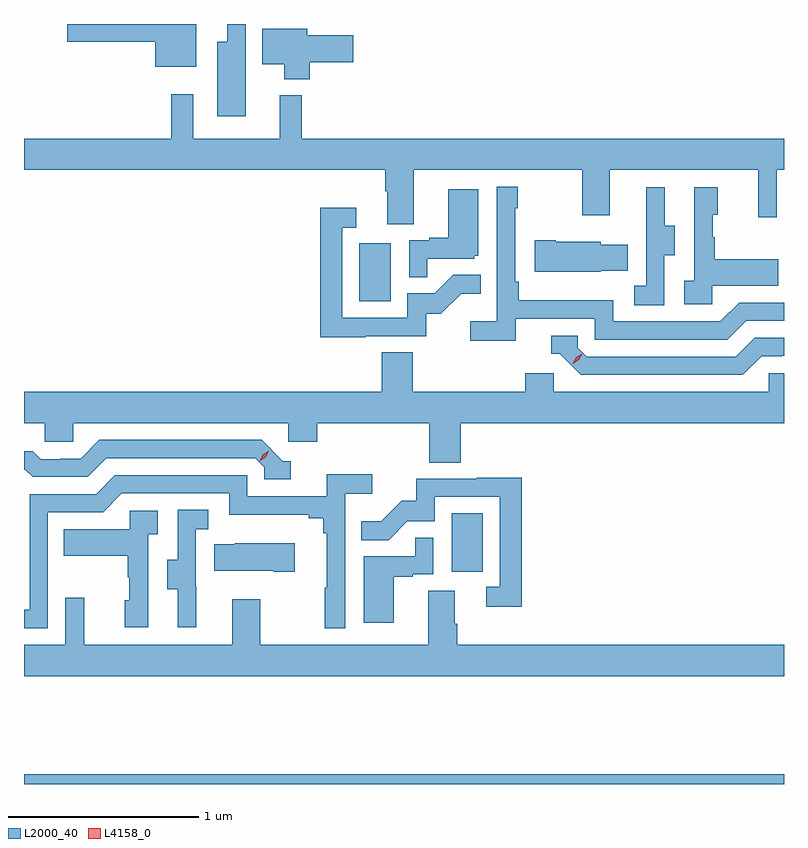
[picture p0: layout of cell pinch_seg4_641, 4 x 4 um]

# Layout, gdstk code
import gdstk
lib = gdstk.Library(unit=1e-6, precision=1e-09)
def R(c, l, rs):  # rectangles x0, y0, x1, y1
    for r in rs: c.add(gdstk.rectangle(r[:2], r[2:], *l))
def P(c, l, *ps):  # polygons
    for p in ps: c.add(gdstk.Polygon(p, *l))
L2000_40 = (2000, 40)
L4158_0 = (4158, 0)

pinch_seg4_641 = lib.new_cell('pinch_seg4_641')
R(pinch_seg4_641, L2000_40, [(1068.427,760.288,1072.427,760.34), (1070.678,761.406,1070.842,761.713), (1070.192,762.828,1070.356,763.135)])
P(pinch_seg4_641, L2000_40, [(1069.594,764.288),(1069.496,764.288),(1069.496,764.194),(1069.445,764.194),(1069.445,763.802),(1069.594,763.802)],
  [(1069.333,764.288),(1068.654,764.288),(1068.654,764.195),(1069.118,764.195),(1069.118,764.063),(1069.333,764.063)],
  [(1069.931,764.086),(1070.161,764.086),(1070.161,764.228),(1069.918,764.228),(1069.918,764.263),(1069.682,764.263),(1069.682,764.075),(1069.796,764.075),(1069.796,763.997),(1069.931,763.997)],
  [(1070.479,763.52),(1071.364,763.52),(1071.364,763.281),(1071.511,763.281),(1071.511,763.52),(1072.292,763.52),(1072.292,763.272),(1072.389,763.272),(1072.389,763.52),(1072.427,763.52),(1072.427,763.684),(1069.889,763.684),(1069.889,763.912),(1069.772,763.912),(1069.772,763.684),(1069.317,763.684),(1069.317,763.918),(1069.201,763.918),(1069.201,763.684),(1068.427,763.684),(1068.427,763.52),(1070.327,763.52),(1070.327,763.408),(1070.339,763.408),(1070.339,763.234),(1070.479,763.234)],
  [(1071.014,762.738),(1071.432,762.738),(1071.432,762.627),(1072.129,762.627),(1072.228,762.726),(1072.427,762.726),(1072.427,762.822),(1072.191,762.822),(1072.092,762.723),(1071.528,762.723),(1071.528,762.835),(1071.032,762.835),(1071.032,762.931),(1071.012,762.931),(1071.012,763.319),(1071.025,763.319),(1071.025,763.432),(1070.916,763.432),(1070.916,762.724),(1070.775,762.724),(1070.775,762.622),(1071.014,762.622)],
  [(1071.798,763.072),(1071.853,763.072),(1071.853,763.227),(1071.799,763.227),(1071.799,763.429),(1071.701,763.429),(1071.701,763.215),(1071.702,763.215),(1071.702,762.911),(1071.639,762.911),(1071.639,762.808),(1071.798,762.808)],
  [(1072.05,762.911),(1072.397,762.911),(1072.397,763.051),(1072.063,763.051),(1072.063,763.166),(1072.053,763.166),(1072.053,763.284),(1072.078,763.284),(1072.078,763.429),(1071.954,763.429),(1071.954,762.938),(1071.903,762.938),(1071.903,762.813),(1072.05,762.813)],
  [(1070.549,763.053),(1070.796,763.053),(1070.796,763.068),(1070.818,763.068),(1070.818,763.417),(1070.66,763.417),(1070.66,763.162),(1070.561,763.162),(1070.561,763.149),(1070.454,763.149),(1070.454,762.955),(1070.549,762.955)],
  [(1070.225,762.645),(1070.544,762.645),(1070.544,762.762),(1070.62,762.762),(1070.727,762.869),(1070.831,762.869),(1070.831,762.968),(1070.687,762.968),(1070.589,762.87),(1070.445,762.87),(1070.445,762.741),(1070.103,762.741),(1070.103,763.215),(1070.176,763.215),(1070.176,763.321),(1069.987,763.321),(1069.987,762.64),(1070.225,762.64)],
  [(1071.462,762.989),(1071.605,762.989),(1071.605,763.126),(1071.462,763.126),(1071.462,763.141),(1071.226,763.141),(1071.226,763.149),(1071.114,763.149),(1071.114,762.983),(1071.462,762.983)],
  [(1072.309,762.54),(1072.416,762.54),(1072.416,762.543),(1072.427,762.543),(1072.427,762.636),(1072.272,762.636),(1072.173,762.537),(1071.39,762.537),(1071.342,762.585),(1071.342,762.648),(1071.203,762.648),(1071.203,762.552),(1071.246,762.552),(1071.357,762.441),(1072.21,762.441)],
  [(1070.726,762.188),(1072.427,762.188),(1072.427,762.45),(1072.347,762.45),(1072.347,762.352),(1071.216,762.352),(1071.216,762.45),(1071.065,762.45),(1071.065,762.352),(1070.474,762.352),(1070.474,762.56),(1070.309,762.56),(1070.309,762.352),(1068.427,762.352),(1068.427,762.188),(1068.537,762.188),(1068.537,762.09),(1068.687,762.09),(1068.687,762.188),(1069.818,762.188),(1069.818,762.09),(1069.97,762.09),(1069.97,762.188),(1070.561,762.188),(1070.561,761.98),(1070.726,761.98)],
  [(1069.831,761.988),(1069.788,761.988),(1069.677,762.099),(1068.824,762.099),(1068.725,762),(1068.618,762),(1068.618,761.997),(1068.515,761.997),(1068.473,762.04),(1068.427,762.04),(1068.427,761.943),(1068.434,761.943),(1068.473,761.904),(1068.762,761.904),(1068.861,762.003),(1069.644,762.003),(1069.692,761.955),(1069.692,761.892),(1069.831,761.892)],
  [(1068.552,761.718),(1068.843,761.718),(1068.942,761.817),(1069.506,761.817),(1069.506,761.705),(1069.925,761.705),(1069.925,761.686),(1070.002,761.686),(1070.002,761.609),(1070.021,761.609),(1070.021,761.321),(1070.01,761.321),(1070.01,761.109),(1070.118,761.109),(1070.118,761.816),(1070.26,761.816),(1070.26,761.918),(1070.021,761.918),(1070.021,761.802),(1069.602,761.802),(1069.602,761.913),(1068.905,761.913),(1068.806,761.814),(1068.456,761.814),(1068.456,761.205),(1068.427,761.205),(1068.427,761.109),(1068.552,761.109)],
  [(1071.047,761.9),(1070.809,761.9),(1070.809,761.895),(1070.491,761.895),(1070.491,761.778),(1070.414,761.778),(1070.307,761.671),(1070.203,761.671),(1070.203,761.572),(1070.347,761.572),(1070.445,761.67),(1070.589,761.67),(1070.589,761.799),(1070.931,761.799),(1070.931,761.325),(1070.859,761.325),(1070.859,761.22),(1071.047,761.22)],
  [(1069.334,761.325),(1069.332,761.325),(1069.332,761.629),(1069.396,761.629),(1069.396,761.732),(1069.236,761.732),(1069.236,761.469),(1069.181,761.469),(1069.181,761.314),(1069.235,761.314),(1069.235,761.112),(1069.334,761.112)],
  [(1069.08,761.603),(1069.132,761.603),(1069.132,761.727),(1068.984,761.727),(1068.984,761.629),(1068.637,761.629),(1068.637,761.489),(1068.972,761.489),(1068.972,761.375),(1068.982,761.375),(1068.982,761.256),(1068.956,761.256),(1068.956,761.112),(1069.08,761.112)],
  [(1070.374,761.379),(1070.474,761.379),(1070.474,761.391),(1070.58,761.391),(1070.58,761.585),(1070.485,761.585),(1070.485,761.487),(1070.216,761.487),(1070.216,761.136),(1070.374,761.136)],
  [(1069.852,761.554),(1069.537,761.554),(1069.537,761.551),(1069.429,761.551),(1069.429,761.411),(1069.739,761.411),(1069.739,761.404),(1069.852,761.404)],
  [(1072.427,761.02),(1070.708,761.02),(1070.708,761.132),(1070.695,761.132),(1070.695,761.306),(1070.555,761.306),(1070.555,761.02),(1069.671,761.02),(1069.671,761.26),(1069.523,761.26),(1069.523,761.02),(1068.743,761.02),(1068.743,761.269),(1068.645,761.269),(1068.645,761.02),(1068.427,761.02),(1068.427,760.856),(1072.427,760.856)])
P(pinch_seg4_641, L4158_0, [(1071.316,762.501),(1071.316,762.501),(1071.333,762.534),(1071.364,762.553),(1071.364,762.553),(1071.364,762.552),(1071.348,762.52),(1071.317,762.501)],
  [(1069.669,761.988),(1069.669,761.989),(1069.684,762.022),(1069.714,762.042),(1069.714,762.042),(1069.714,762.042),(1069.699,762.009),(1069.669,761.988)])

lib.write_gds('pinch_seg4_641.gds')
